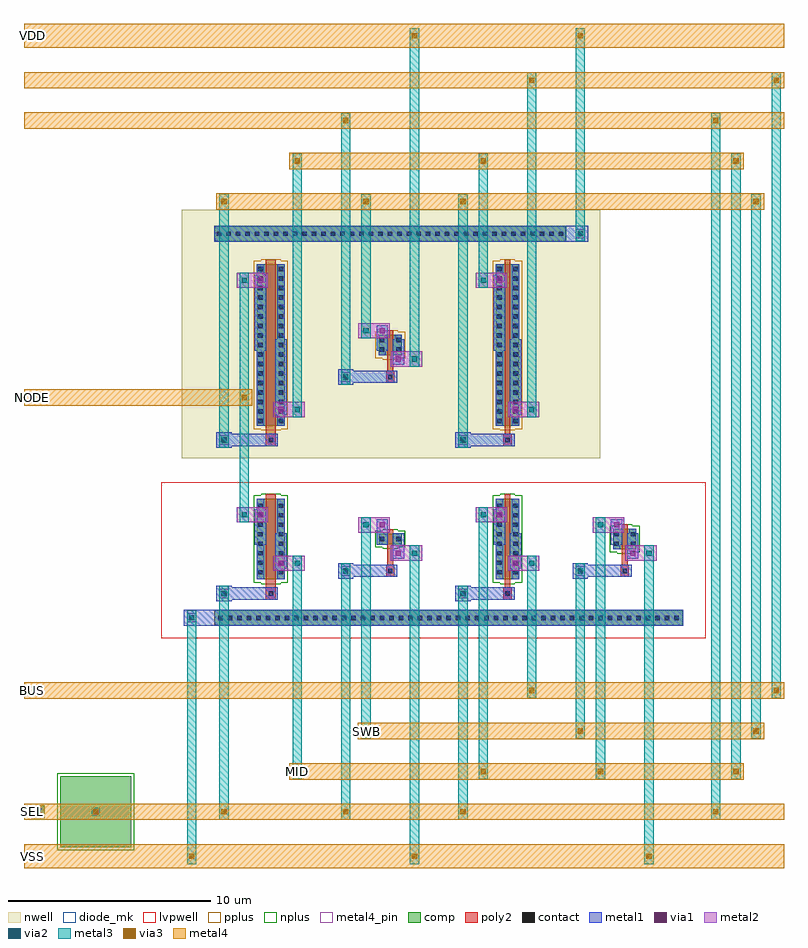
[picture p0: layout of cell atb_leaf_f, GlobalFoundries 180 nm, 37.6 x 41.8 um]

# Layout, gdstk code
import gdstk
lib = gdstk.Library(unit=1e-6, precision=1e-09)
def R(c, l, rs):  # rectangles x0, y0, x1, y1
    for r in rs: c.add(gdstk.rectangle(r[:2], r[2:], *l))
def A(c, l, x, y, w, h, nx, ny, dx, dy):  # array of equal rectangles
    R(c, l, [(x+i*dx, y+j*dy, x+i*dx+w, y+j*dy+h) for i in range(nx) for j in range(ny)])
nwell = (21, 0)
comp = (22, 0)
poly2 = (30, 0)
pplus = (31, 0)
nplus = (32, 0)
contact = (33, 0)
metal1 = (34, 0)
via1 = (35, 0)
metal2 = (36, 0)
via2 = (38, 0)
via3 = (40, 0)
metal3 = (42, 0)
metal4 = (46, 0)
metal4_pin = (46, 10)
diode_mk = (115, 5)
lvpwell = (204, 0)

atb_leaf_f = lib.new_cell('atb_leaf_f')
R(atb_leaf_f, nwell, [(-1.5,19.9,19.22,32.2)])
R(atb_leaf_f, comp, [(-7.5,0.65,-4,4.15), (-8.9,2.1,-8.3,2.7), (0.13,11.63,23.29,12.37), (2.22,13.9,3.6,17.9), (14.04,13.9,15.2,17.9), (19.84,15.4,21,16.4), (8.24,15.65,9.4,16.15), (2.22,21.5,3.6,29.5), (14.04,21.5,15.2,29.5), (8.24,25,9.4,26), (0.13,30.63,17.49,31.37)])
R(atb_leaf_f, poly2, [(2.66,12.9,3.16,18.12), (14.42,12.9,14.82,13.5), (14.48,13.5,14.76,18.12), (8.62,14.02,9.02,14.62), (20.22,14.02,20.62,14.62), (8.68,14.62,8.96,16.37), (20.28,14.62,20.56,16.62), (2.66,20.5,3.16,29.72), (14.42,20.5,14.82,21.1), (14.48,21.1,14.76,29.72), (8.62,23.62,9.02,24.22), (8.68,24.22,8.96,26.22)])
R(atb_leaf_f, pplus, [(-8.92,2.08,-8.28,2.72), (0.11,11.61,23.31,11.655), (0.105,11.655,23.315,12.345), (0.11,12.345,23.31,12.39), (2.43,21.27,3.39,21.34), (14.25,21.27,14.99,21.34), (2.06,21.34,3.76,29.66), (13.88,21.34,15.36,29.66), (8.45,24.77,9.19,24.84), (8.08,24.84,9.56,26.16), (8.45,26.16,9.19,26.23), (2.43,29.66,3.39,29.73), (14.25,29.66,14.99,29.73)])
R(atb_leaf_f, nplus, [(-7.66,0.49,-3.84,4.31), (2.43,13.67,3.39,13.74), (14.25,13.67,14.99,13.74), (2.06,13.74,3.76,18.06), (13.88,13.74,15.36,18.06), (20.05,15.17,20.79,15.24), (19.68,15.24,21.16,16.56), (8.45,15.42,9.19,15.49), (8.08,15.49,9.56,16.31), (8.45,16.31,9.19,16.38), (20.05,16.56,20.79,16.63), (2.43,18.06,3.39,18.13), (14.25,18.06,14.99,18.13), (0.11,30.61,17.51,30.655), (0.105,30.655,17.515,31.345), (0.11,31.345,17.51,31.39)])
A(atb_leaf_f, contact, 0.32, 11.89, 0.22, 0.22, 49, 1, 0.47, 0)
A(atb_leaf_f, contact, 2.29, 14.145, 0.22, 0.22, 1, 8, 0, 0.47)
A(atb_leaf_f, contact, 3.31, 14.145, 0.22, 0.22, 1, 8, 0, 0.47)
A(atb_leaf_f, contact, 14.11, 14.145, 0.22, 0.22, 1, 8, 0, 0.47)
A(atb_leaf_f, contact, 14.91, 14.145, 0.22, 0.22, 1, 8, 0, 0.47)
A(atb_leaf_f, contact, 2.29, 21.63, 0.22, 0.22, 1, 17, 0, 0.47)
A(atb_leaf_f, contact, 3.31, 21.63, 0.22, 0.22, 1, 17, 0, 0.47)
A(atb_leaf_f, contact, 14.11, 21.63, 0.22, 0.22, 1, 17, 0, 0.47)
A(atb_leaf_f, contact, 14.91, 21.63, 0.22, 0.22, 1, 17, 0, 0.47)
A(atb_leaf_f, contact, 0.24, 30.89, 0.22, 0.22, 37, 1, 0.47, 0)
R(atb_leaf_f, contact, [(-8.71,2.29,-8.49,2.51), (-5.86,2.29,-5.64,2.51), (2.8,13.09,3.02,13.31), (14.51,13.09,14.73,13.31), (8.71,14.21,8.93,14.43), (20.31,14.21,20.53,14.43), (19.91,15.555,20.13,15.775), (20.71,15.555,20.93,15.775), (8.31,15.79,8.53,16.01), (9.11,15.79,9.33,16.01), (19.91,16.025,20.13,16.245), (20.71,16.025,20.93,16.245), (2.8,20.69,3.02,20.91), (14.51,20.69,14.73,20.91), (8.71,23.81,8.93,24.03), (8.31,25.155,8.53,25.375), (9.11,25.155,9.33,25.375), (8.31,25.625,8.53,25.845), (9.11,25.625,9.33,25.845)])
R(atb_leaf_f, metal1, [(-8.8,2.2,-8.4,2.6), (-5.95,2.2,-5.55,2.6), (-1.4,11.6,23.32,12.4), (0.22,12.82,0.98,12.9), (12.04,12.82,12.8,12.9), (0.22,12.9,3.26,13.5), (12.04,12.9,14.97,13.5), (0.22,13.5,0.98,13.58), (12.04,13.5,12.8,13.58), (2.22,13.9,2.58,15.62), (3.24,13.9,3.6,14.42), (14.04,13.9,14.4,15.62), (14.84,13.9,15.2,14.42), (6.24,13.94,7,14.02), (17.84,13.94,18.6,14.02), (6.24,14.02,9.17,14.62), (17.84,14.02,20.77,14.62), (3.14,14.42,3.7,16.18), (14.74,14.42,15.3,16.18), (6.24,14.62,7,14.7), (17.84,14.62,18.6,14.7), (8.94,14.92,9.5,16.18), (20.54,14.92,21.1,16.18), (19.84,15.4,20.2,15.62), (2.12,15.62,2.68,17.38), (8.14,15.62,8.7,16.88), (13.94,15.62,14.5,17.38), (19.74,15.62,20.3,16.88), (3.24,16.18,3.6,17.9), (14.84,16.18,15.2,17.9), (20.64,16.18,21,16.4), (2.22,17.38,2.58,17.9), (14.04,17.38,14.4,17.9), (0.22,20.42,0.98,20.5), (12.04,20.42,12.8,20.5), (0.22,20.5,3.26,21.1), (12.04,20.5,14.97,21.1), (0.22,21.1,0.98,21.18), (12.04,21.1,12.8,21.18), (2.22,21.5,2.58,25.22), (3.24,21.5,3.6,22.02), (14.04,21.5,14.4,25.22), (14.84,21.5,15.2,22.02), (3.14,22.02,3.7,25.78), (14.74,22.02,15.3,25.78), (6.24,23.54,7,23.62), (6.24,23.62,9.17,24.22), (6.24,24.22,7,24.3), (8.94,24.52,9.5,25.78), (8.24,25,8.6,25.22), (2.12,25.22,2.68,28.98), (8.14,25.22,8.7,26.48), (13.94,25.22,14.5,28.98), (3.24,25.78,3.6,29.5), (9.04,25.78,9.4,26), (14.84,25.78,15.2,29.5), (2.22,28.98,2.58,29.5), (14.04,28.98,14.4,29.5), (0.1,30.6,18.62,31.4)])
R(atb_leaf_f, via1, [(-5.88,2.27,-5.62,2.53), (-1.13,11.87,-0.87,12.13), (0.47,13.07,0.73,13.33), (12.29,13.07,12.55,13.33), (6.49,14.19,6.75,14.45), (18.09,14.19,18.35,14.45), (3.29,14.57,3.55,14.83), (14.89,14.57,15.15,14.83), (9.09,15.07,9.35,15.33), (20.69,15.07,20.95,15.33), (8.29,16.47,8.55,16.73), (19.89,16.47,20.15,16.73), (2.27,16.97,2.53,17.23), (14.09,16.97,14.35,17.23), (0.47,20.67,0.73,20.93), (12.29,20.67,12.55,20.93), (3.29,22.17,3.55,22.43), (14.89,22.17,15.15,22.43), (6.49,23.79,6.75,24.05), (9.09,24.67,9.35,24.93), (8.29,26.07,8.55,26.33), (2.27,28.57,2.53,28.83), (14.09,28.57,14.35,28.83), (18.09,30.87,18.35,31.13)])
R(atb_leaf_f, metal2, [(-5.95,2.2,-5.55,2.6), (-1.23,11.77,-0.77,12.23), (0.37,12.97,0.83,13.43), (12.19,12.97,12.65,13.43), (6.39,14.09,6.85,14.55), (17.99,14.09,18.45,14.55), (3.04,14.32,4.6,15.08), (14.64,14.32,16.2,15.08), (8.84,14.82,10.4,15.58), (20.44,14.82,22,15.58), (7.24,16.22,8.8,16.98), (18.84,16.22,20.4,16.98), (1.22,16.72,2.78,17.48), (13.04,16.72,14.6,17.48), (0.37,20.57,0.83,21.03), (12.19,20.57,12.65,21.03), (3.04,21.92,4.6,22.68), (14.64,21.92,16.2,22.68), (6.39,23.69,6.85,24.15), (8.84,24.42,10.4,25.18), (7.24,25.82,8.8,26.58), (1.22,28.32,2.78,29.08), (13.04,28.32,14.6,29.08), (17.99,30.77,18.45,31.23)])
R(atb_leaf_f, via2, [(-5.88,2.27,-5.62,2.53), (-1.13,11.87,-0.87,12.13), (0.47,13.07,0.73,13.33), (12.29,13.07,12.55,13.33), (6.49,14.19,6.75,14.45), (18.09,14.19,18.35,14.45), (4.09,14.57,4.35,14.83), (15.69,14.57,15.95,14.83), (9.89,15.07,10.15,15.33), (21.49,15.07,21.75,15.33), (7.49,16.47,7.75,16.73), (19.09,16.47,19.35,16.73), (1.47,16.97,1.73,17.23), (13.29,16.97,13.55,17.23), (0.47,20.67,0.73,20.93), (12.29,20.67,12.55,20.93), (4.09,22.17,4.35,22.43), (15.69,22.17,15.95,22.43), (6.49,23.79,6.75,24.05), (9.89,24.67,10.15,24.93), (7.49,26.07,7.75,26.33), (1.47,28.57,1.73,28.83), (13.29,28.57,13.55,28.83), (18.09,30.87,18.35,31.13)])
R(atb_leaf_f, via3, [(-1.13,0.07,-0.87,0.33), (9.89,0.07,10.15,0.33), (21.49,0.07,21.75,0.33), (-5.88,2.27,-5.62,2.53), (0.47,2.27,0.73,2.53), (6.49,2.27,6.75,2.53), (12.29,2.27,12.55,2.53), (24.79,2.27,25.05,2.53), (4.09,4.27,4.35,4.53), (13.29,4.27,13.55,4.53), (19.09,4.27,19.35,4.53), (25.79,4.27,26.05,4.53), (7.49,6.27,7.75,6.53), (18.09,6.27,18.35,6.53), (26.79,6.27,27.05,6.53), (15.69,8.27,15.95,8.53), (27.79,8.27,28.05,8.53), (1.47,22.77,1.73,23.03), (0.47,32.47,0.73,32.73), (7.49,32.47,7.75,32.73), (12.29,32.47,12.55,32.73), (26.79,32.47,27.05,32.73), (4.09,34.47,4.35,34.73), (13.29,34.47,13.55,34.73), (25.79,34.47,26.05,34.73), (6.49,36.47,6.75,36.73), (24.79,36.47,25.05,36.73), (15.69,38.47,15.95,38.73), (27.79,38.47,28.05,38.73), (9.89,40.67,10.15,40.93), (18.09,40.67,18.35,40.93)])
R(atb_leaf_f, metal3, [(-1.23,-0.18,-0.77,12.38), (9.79,-0.18,10.25,15.58), (21.39,-0.18,21.85,15.58), (0.37,2.02,0.83,13.58), (6.39,2.02,6.85,14.7), (12.19,2.02,12.65,13.58), (24.69,2.02,25.15,36.98), (-5.95,2.2,-5.55,2.6), (3.99,4.02,4.45,15.08), (13.19,4.02,13.65,17.48), (18.99,4.02,19.45,16.98), (25.69,4.02,26.15,34.98), (7.39,6.02,7.85,16.98), (17.99,6.02,18.45,14.7), (26.69,6.02,27.15,32.98), (15.59,8.02,16.05,15.08), (27.69,8.02,28.15,38.98), (1.37,16.72,1.83,29.08), (0.37,20.42,0.83,32.98), (12.19,20.42,12.65,32.98), (3.99,21.92,4.45,34.98), (15.59,21.92,16.05,38.98), (6.39,23.54,6.85,36.98), (9.79,24.42,10.25,41.18), (7.39,25.82,7.85,32.98), (13.19,28.32,13.65,34.98), (17.99,30.62,18.45,41.18)])
R(atb_leaf_f, metal4, [(-9.3,-0.4,28.3,0.8), (-9.3,2,28.3,2.8), (3.82,4,26.32,4.8), (7.22,6,27.32,6.8), (-9.3,8,28.3,8.8), (-9.3,22.5,1.98,23.3), (0.2,32.2,27.32,33), (3.82,34.2,26.32,35), (-9.3,36.2,28.3,37), (-9.3,38.2,28.3,39), (-9.3,40.2,28.3,41.4)])
R(atb_leaf_f, metal4_pin, [(-9.2,0,-8.6,0.4), (-9.2,2.2,-8.6,2.6), (-9.2,8.2,-8.6,8.6), (-9.2,22.7,-8.6,23.1), (-9.2,40.6,-8.6,41)])
R(atb_leaf_f, diode_mk, [(-7.5,0.65,-4,4.15)])
R(atb_leaf_f, lvpwell, [(-2.5,11,24.42,18.7)])
atb_leaf_f.add(gdstk.Label('MID', (4.22,4.4), layer=46, texttype=0))
atb_leaf_f.add(gdstk.Label('SWB', (7.62,6.4), layer=46, texttype=0))
atb_leaf_f.add(gdstk.Label('NODE', (-8.9,22.9), layer=46, texttype=10))
atb_leaf_f.add(gdstk.Label('BUS', (-8.9,8.4), layer=46, texttype=10))
atb_leaf_f.add(gdstk.Label('SEL', (-8.9,2.4), layer=46, texttype=10))
atb_leaf_f.add(gdstk.Label('VDD', (-8.9,40.8), layer=46, texttype=10))
atb_leaf_f.add(gdstk.Label('VSS', (-8.9,0.2), layer=46, texttype=10))

lib.write_gds('atb_leaf_f.gds')
